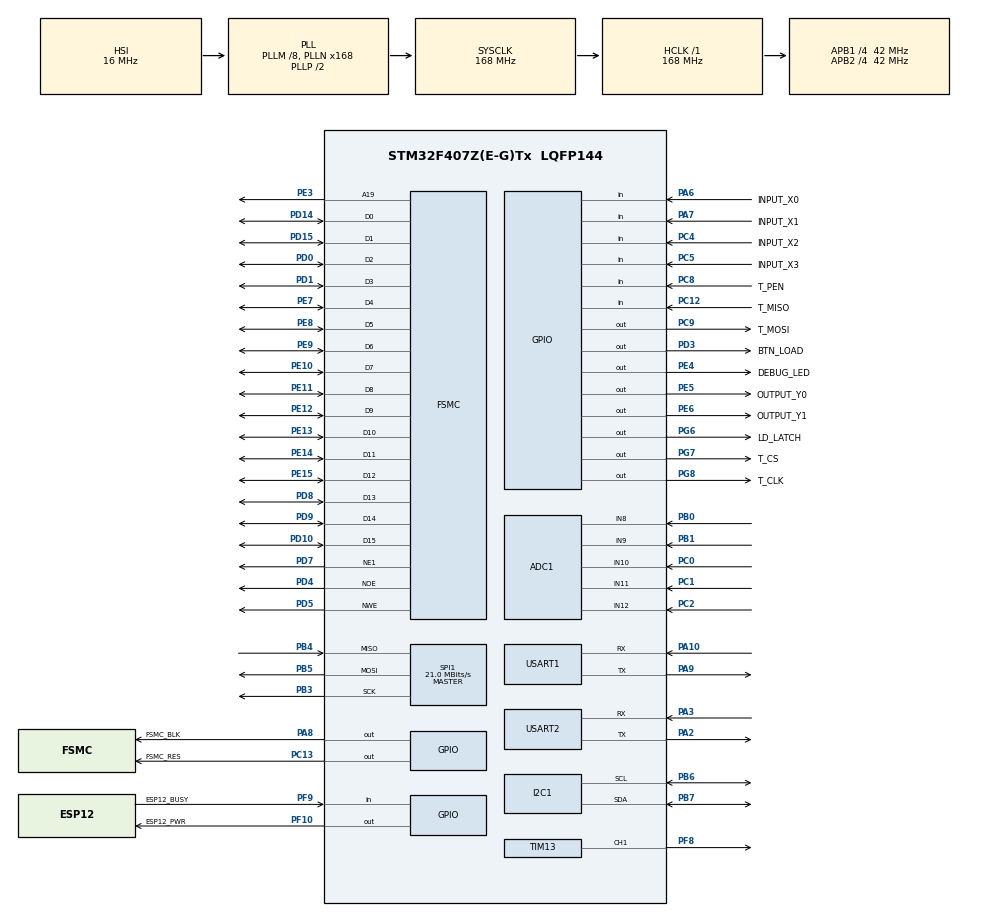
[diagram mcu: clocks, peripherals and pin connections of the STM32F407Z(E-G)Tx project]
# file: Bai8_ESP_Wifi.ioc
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ADC1.Channel-0\#ChannelRegularConversion=ADC_CHANNEL_8
ADC1.Channel-1\#ChannelRegularConversion=ADC_CHANNEL_9
ADC1.Channel-2\#ChannelRegularConversion=ADC_CHANNEL_10
ADC1.Channel-3\#ChannelRegularConversion=ADC_CHANNEL_11
ADC1.Channel-4\#ChannelRegularConversion=ADC_CHANNEL_12
ADC1.NbrOfConversion=5
ADC1.NbrOfConversionFlag=1
ADC1.Rank-0\#ChannelRegularConversion=1
ADC1.Rank-1\#ChannelRegularConversion=2
ADC1.Rank-2\#ChannelRegularConversion=3
ADC1.Rank-3\#ChannelRegularConversion=4
ADC1.Rank-4\#ChannelRegularConversion=5
ADC1.SamplingTime-0\#ChannelRegularConversion=ADC_SAMPLETIME_3CYCLES
ADC1.SamplingTime-1\#ChannelRegularConversion=ADC_SAMPLETIME_3CYCLES
ADC1.SamplingTime-2\#ChannelRegularConversion=ADC_SAMPLETIME_3CYCLES
ADC1.SamplingTime-3\#ChannelRegularConversion=ADC_SAMPLETIME_3CYCLES
ADC1.SamplingTime-4\#ChannelRegularConversion=ADC_SAMPLETIME_3CYCLES
ADC1.ScanConvMode=ENABLE
ADC1.master=1
Dma.ADC1.0.Direction=DMA_PERIPH_TO_MEMORY
Dma.ADC1.0.FIFOMode=DMA_FIFOMODE_DISABLE
Dma.ADC1.0.Instance=DMA2_Stream0
Dma.ADC1.0.MemDataAlignment=DMA_MDATAALIGN_HALFWORD
Dma.ADC1.0.MemInc=DMA_MINC_ENABLE
Dma.ADC1.0.Mode=DMA_CIRCULAR
Dma.ADC1.0.PeriphDataAlignment=DMA_PDATAALIGN_HALFWORD
Dma.ADC1.0.PeriphInc=DMA_PINC_DISABLE
Dma.ADC1.0.Priority=DMA_PRIORITY_LOW
Dma.Request0=ADC1
FSMC.AddressSetupTime1=0xf
FSMC.BusTurnAroundDuration1=0
FSMC.DataSetupTime1=60
FSMC.ExtendedAddressSetupTime1=8
FSMC.ExtendedBusTurnAroundDuration1=0
FSMC.ExtendedDataSetupTime1=9
FSMC.ExtendedMode1=FSMC_EXTENDED_MODE_ENABLE
I2C1.I2C_Mode=I2C_Standard
Mcu.Family=STM32F4
Mcu.Name=STM32F407Z(E-G)Tx
Mcu.Package=LQFP144
NVIC.DMA2_Stream0_IRQn=true\:0\:0\:false\:false\:true\:false\:true\:true
NVIC.PriorityGroup=NVIC_PRIORITYGROUP_4
NVIC.TIM2_IRQn=true\:0\:0\:false\:false\:true\:true\:true\:true
NVIC.USART1_IRQn=true\:0\:0\:false\:false\:true\:true\:true\:true
NVIC.USART2_IRQn=true\:0\:0\:false\:false\:true\:true\:true\:true
PA10.Mode=Asynchronous
PA10.Signal=USART1_RX
PA13.Mode=Serial_Wire
PA13.Signal=SYS_JTMS-SWDIO
PA14.Mode=Serial_Wire
PA14.Signal=SYS_JTCK-SWCLK
PA2.Mode=Asynchronous
PA2.Signal=USART2_TX
PA3.Mode=Asynchronous
PA3.Signal=USART2_RX
PA6.GPIO_Label=INPUT_X0
PA6.Signal=GPIO_Input
PA7.GPIO_Label=INPUT_X1
PA7.Signal=GPIO_Input
PA8.GPIO_Label=FSMC_BLK
PA8.Signal=GPIO_Output
PA9.Mode=Asynchronous
PA9.Signal=USART1_TX
PB0.Signal=ADCx_IN8
PB1.Signal=ADCx_IN9
PB3.Mode=Full_Duplex_Master
PB3.Signal=SPI1_SCK
PB4.Mode=Full_Duplex_Master
PB4.Signal=SPI1_MISO
PB5.Mode=Full_Duplex_Master
PB5.Signal=SPI1_MOSI
PB6.Mode=I2C
PB6.Signal=I2C1_SCL
PB7.Mode=I2C
PB7.Signal=I2C1_SDA
PC0.Signal=ADCx_IN10
PC1.Signal=ADCx_IN11
PC12.GPIO_Label=T_MISO
PC12.GPIO_PuPd=GPIO_PULLUP
PC12.Signal=GPIO_Input
PC13-ANTI_TAMP.GPIO_Label=FSMC_RES
PC13-ANTI_TAMP.Signal=GPIO_Output
PC2.Signal=ADCx_IN12
PC4.GPIO_Label=INPUT_X2
PC4.Signal=GPIO_Input
PC5.GPIO_Label=INPUT_X3
PC5.Signal=GPIO_Input
PC8.GPIO_Label=T_PEN
PC8.GPIO_PuPd=GPIO_PULLUP
PC8.Signal=GPIO_Input
PC9.GPIO_Label=T_MOSI
PC9.Signal=GPIO_Output
PD0.Signal=FSMC_D2_DA2
PD1.Signal=FSMC_D3_DA3
PD10.Signal=FSMC_D15_DA15
PD14.Signal=FSMC_D0_DA0
PD15.Signal=FSMC_D1_DA1
PD3.GPIO_Label=BTN_LOAD
PD3.Signal=GPIO_Output
PD4.Signal=FSMC_NOE
PD5.Signal=FSMC_NWE
PD7.Mode=NorPsramChipSelect1_1
PD7.Signal=FSMC_NE1
PD8.Signal=FSMC_D13_DA13
PD9.Signal=FSMC_D14_DA14
PE10.Signal=FSMC_D7_DA7
PE11.Signal=FSMC_D8_DA8
PE12.Signal=FSMC_D9_DA9
PE13.Signal=FSMC_D10_DA10
PE14.Signal=FSMC_D11_DA11
PE15.Signal=FSMC_D12_DA12
PE3.Signal=FSMC_A19
PE4.GPIO_Label=DEBUG_LED
PE4.Signal=GPIO_Output
PE5.GPIO_Label=OUTPUT_Y0
PE5.Signal=GPIO_Output
PE6.GPIO_Label=OUTPUT_Y1
PE6.Signal=GPIO_Output
PE7.Signal=FSMC_D4_DA4
PE8.Signal=FSMC_D5_DA5
PE9.Signal=FSMC_D6_DA6
PF10.GPIO_Label=ESP12_PWR
PF10.Signal=GPIO_Output
PF8.Signal=S_TIM13_CH1
PF9.GPIO_Label=ESP12_BUSY
PF9.Signal=GPIO_Input
PG6.GPIO_Label=LD_LATCH
PG6.Signal=GPIO_Output
PG7.GPIO_Label=T_CS
PG7.Signal=GPIO_Output
PG8.GPIO_Label=T_CLK
PG8.Signal=GPIO_Output
PH0-OSC_IN.Mode=HSE-External-Oscillator
PH0-OSC_IN.Signal=RCC_OSC_IN
PH1-OSC_OUT.Mode=HSE-External-Oscillator
PH1-OSC_OUT.Signal=RCC_OSC_OUT
ProjectManager.HeapSize=0x200
ProjectManager.StackSize=0x400
ProjectManager.TargetToolchain=STM32CubeIDE
RCC.48MHZClocksFreq_Value=84000000
RCC.AHBFreq_Value=168000000
RCC.APB1CLKDivider=RCC_HCLK_DIV4
RCC.APB1Freq_Value=42000000
RCC.APB1TimFreq_Value=84000000
RCC.APB2CLKDivider=RCC_HCLK_DIV4
RCC.APB2Freq_Value=42000000
RCC.APB2TimFreq_Value=84000000
RCC.CortexFreq_Value=168000000
RCC.HCLKFreq_Value=168000000
RCC.HSE_VALUE=8000000
RCC.HSI_VALUE=16000000
RCC.LSE_VALUE=32768
RCC.PLLM=8
RCC.PLLN=168
RCC.SYSCLKFreq_VALUE=168000000
RCC.SYSCLKSource=RCC_SYSCLKSOURCE_PLLCLK
RCC.VCOOutputFreq_Value=336000000
SH.ADCx_IN10.0=ADC1_IN10,IN10
SH.ADCx_IN11.0=ADC1_IN11,IN11
SH.ADCx_IN12.0=ADC1_IN12,IN12
SH.ADCx_IN8.0=ADC1_IN8,IN8
SH.ADCx_IN9.0=ADC1_IN9,IN9
SH.FSMC_A19.0=FSMC_A19,A19_1
SH.FSMC_D0_DA0.0=FSMC_D0,16b-d1
SH.FSMC_D10_DA10.0=FSMC_D10,16b-d1
SH.FSMC_D11_DA11.0=FSMC_D11,16b-d1
SH.FSMC_D12_DA12.0=FSMC_D12,16b-d1
SH.FSMC_D13_DA13.0=FSMC_D13,16b-d1
SH.FSMC_D14_DA14.0=FSMC_D14,16b-d1
SH.FSMC_D15_DA15.0=FSMC_D15,16b-d1
SH.FSMC_D1_DA1.0=FSMC_D1,16b-d1
SH.FSMC_D2_DA2.0=FSMC_D2,16b-d1
SH.FSMC_D3_DA3.0=FSMC_D3,16b-d1
SH.FSMC_D4_DA4.0=FSMC_D4,16b-d1
SH.FSMC_D5_DA5.0=FSMC_D5,16b-d1
SH.FSMC_D6_DA6.0=FSMC_D6,16b-d1
SH.FSMC_D7_DA7.0=FSMC_D7,16b-d1
SH.FSMC_D8_DA8.0=FSMC_D8,16b-d1
SH.FSMC_D9_DA9.0=FSMC_D9,16b-d1
SH.FSMC_NOE.0=FSMC_NOE,Lcd1
SH.FSMC_NWE.0=FSMC_NWE,Lcd1
SH.S_TIM13_CH1.0=TIM13_CH1,PWM Generation1 CH1
SPI1.BaudRatePrescaler=SPI_BAUDRATEPRESCALER_2
SPI1.CalculateBaudRate=21.0 MBits/s
SPI1.Direction=SPI_DIRECTION_2LINES
SPI1.Mode=SPI_MODE_MASTER
SPI1.VirtualType=VM_MASTER
TIM1.Prescaler=84-1
TIM13.Channel=TIM_CHANNEL_1
TIM13.Period=100-1
TIM13.Prescaler=840-1
TIM2.Period=100-1
TIM2.Prescaler=840-1
USART1.VirtualMode=VM_ASYNC
USART2.VirtualMode=VM_ASYNC
VP_TIM13_VS_ClockSourceINT.Mode=Enable_Timer
VP_TIM1_VS_ClockSourceINT.Mode=Internal
VP_TIM2_VS_ClockSourceINT.Mode=Internal
board=custom

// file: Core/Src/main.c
/* USER CODE BEGIN Header */
/**
  ******************************************************************************
  * @file           : main.c
  * @brief          : Main program body
  ******************************************************************************
  * @attention
  *
  * <h2><center>&copy; Copyright (c) 2023 STMicroelectronics.
  * All rights reserved.</center></h2>
  *
  * This software component is licensed by ST under BSD 3-Clause license,
  * the "License"; You may not use this file except in compliance with the
  * License. You may obtain a copy of the License at:
  *                        opensource.org/licenses/BSD-3-Clause
  *
  ******************************************************************************
  */
/* USER CODE END Header */
#include "main.h"
#include "adc.h"
#include "dma.h"
#include "i2c.h"
#include "spi.h"
#include "tim.h"
#include "usart.h"
#include "gpio.h"
#include "fsmc.h"

/* USER CODE BEGIN Includes */
#include "software_timer.h"
#include "led_7seg.h"
#include "button.h"
#include "lcd.h"
#include "picture.h"
#include "ds3231.h"
#include "sensor.h"
#include "buzzer.h"
#include "touch.h"
#include "uart.h"
#include "light_control.h"
/* USER CODE END Includes */

/* USER CODE BEGIN PD */
#define SEND_INTERVAL 600

/* USER CODE END PD */

void SystemClock_Config(void);
/* USER CODE BEGIN PFP */
void system_init();
void temp_Send();

// Esp status
uint8_t is_esp_connected = 0;
uint16_t timer_send_temp = 0;
uint8_t upload_status_timer = 0;

/* USER CODE END PFP */

int main(void)
{

  /* MCU Configuration--------------------------------------------------------*/

  /* Reset of all peripherals, Initializes the Flash interface and the Systick. */
  HAL_Init();

  /* Configure the system clock */
  SystemClock_Config();

  /* Initialize all configured peripherals */
  MX_GPIO_Init();
  MX_TIM2_Init();
  MX_SPI1_Init();
  MX_FSMC_Init();
  MX_I2C1_Init();
  MX_TIM13_Init();
  MX_DMA_Init();
  MX_ADC1_Init();
  MX_TIM1_Init();
  MX_USART2_UART_Init();
  MX_USART1_UART_Init();
  /* USER CODE BEGIN 2 */
  system_init();
  /* USER CODE END 2 */

  /* Infinite loop */
  /* USER CODE BEGIN WHILE */
 lcd_Clear(BLACK);
 while (1)
  {
	  // 50ms task
	  if(flag_timer2 == 1){
		  flag_timer2 = 0;
		  button_Scan();
		  test_Esp();
		  lightProcess();
		  temp_Send();
	  }

    /* USER CODE END WHILE */

  }
}

void SystemClock_Config(void)
{
  RCC_OscInitTypeDef RCC_OscInitStruct = {0};
  RCC_ClkInitTypeDef RCC_ClkInitStruct = {0};

  /** Configure the main internal regulator output voltage
  */
  __HAL_RCC_PWR_CLK_ENABLE();
  __HAL_PWR_VOLTAGESCALING_CONFIG(PWR_REGULATOR_VOLTAGE_SCALE1);
  /** Initializes the RCC Oscillators according to the specified parameters
  * in the RCC_OscInitTypeDef structure.
  */
  RCC_OscInitStruct.OscillatorType = RCC_OSCILLATORTYPE_HSI;
  RCC_OscInitStruct.HSIState = RCC_HSI_ON;
  RCC_OscInitStruct.HSICalibrationValue = RCC_HSICALIBRATION_DEFAULT;
  RCC_OscInitStruct.PLL.PLLState = RCC_PLL_ON;
  RCC_OscInitStruct.PLL.PLLSource = RCC_PLLSOURCE_HSI;
  RCC_OscInitStruct.PLL.PLLM = 8;
  RCC_OscInitStruct.PLL.PLLN = 168;
  RCC_OscInitStruct.PLL.PLLP = RCC_PLLP_DIV2;
  RCC_OscInitStruct.PLL.PLLQ = 4;
  if (HAL_RCC_OscConfig(&RCC_OscInitStruct) != HAL_OK)
  {
    Error_Handler();
  }
  /** Initializes the CPU, AHB and APB buses clocks
  */
  RCC_ClkInitStruct.ClockType = RCC_CLOCKTYPE_HCLK|RCC_CLOCKTYPE_SYSCLK
                              |RCC_CLOCKTYPE_PCLK1|RCC_CLOCKTYPE_PCLK2;
  RCC_ClkInitStruct.SYSCLKSource = RCC_SYSCLKSOURCE_PLLCLK;
  RCC_ClkInitStruct.AHBCLKDivider = RCC_SYSCLK_DIV1;
  RCC_ClkInitStruct.APB1CLKDivider = RCC_HCLK_DIV4;
  RCC_ClkInitStruct.APB2CLKDivider = RCC_HCLK_DIV4;

  if (HAL_RCC_ClockConfig(&RCC_ClkInitStruct, FLASH_LATENCY_5) != HAL_OK)
  {
    Error_Handler();
  }
}

/* USER CODE BEGIN 4 */
void system_init(){
	  timer_init();
	  button_init();
	  lcd_init();
	  uart_init_esp();
	  setTimer2(50);
	  HAL_GPIO_WritePin(DEBUG_LED_GPIO_Port, DEBUG_LED_Pin, 0);
}

void temp_Send(){

	if(is_esp_connected == 0) return;

	if(upload_status_timer > 0){
		upload_status_timer--;
		if(upload_status_timer == 0){
			lcd_ShowStr(10, 260, "               ", WHITE, WHITE, 24, 0);
		}
	}

	timer_send_temp++;
	if(timer_send_temp >= SEND_INTERVAL){
		timer_send_temp = 0;

		// Read Sensor
		sensor_Read();
		float temperature = sensor_GetTemperature();

		lcd_Fill(40, 160, 200, 145, WHITE);
		lcd_ShowFloatNum(40, 160, temperature, 4, RED, WHITE, 20);

		lcd_ShowStr(160, 160, "Celsius", RED, WHITE, 20, 0);

		char buffer[32];
		sprintf(buffer, "!TEMP:%.2f#", temperature);
		uart_EspSendBytes((uint8_t*)buffer, strlen(buffer));

		lcd_ShowStr(10, 260, ">> Send to esp", BLUE, WHITE, 24, 0);

		upload_status_timer = 20;
	}
}

/* USER CODE END 4 */

void Error_Handler(void)
{
  __disable_irq();
  while (1)
  {
  }
}

/************************ (C) COPYRIGHT STMicroelectronics *****END OF FILE****/
